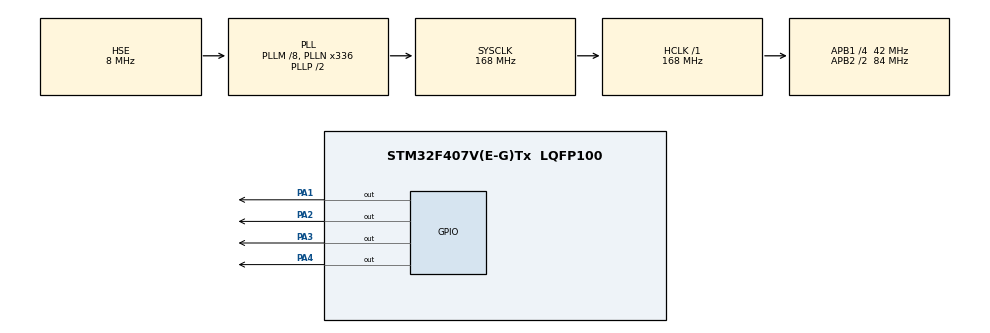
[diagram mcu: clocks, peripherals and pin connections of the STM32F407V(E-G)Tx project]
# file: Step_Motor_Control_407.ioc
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Mcu.Family=STM32F4
Mcu.Name=STM32F407V(E-G)Tx
Mcu.Package=LQFP100
NVIC.PriorityGroup=NVIC_PRIORITYGROUP_0
PA1.Signal=GPIO_Output
PA13.Mode=Serial_Wire
PA13.Signal=SYS_JTMS-SWDIO
PA14.Mode=Serial_Wire
PA14.Signal=SYS_JTCK-SWCLK
PA2.Signal=GPIO_Output
PA3.Signal=GPIO_Output
PA4.Signal=GPIO_Output
PH0-OSC_IN.Mode=HSE-External-Oscillator
PH0-OSC_IN.Signal=RCC_OSC_IN
PH1-OSC_OUT.Mode=HSE-External-Oscillator
PH1-OSC_OUT.Signal=RCC_OSC_OUT
ProjectManager.HeapSize=0x200
ProjectManager.StackSize=0x400
ProjectManager.TargetToolchain=STM32CubeIDE
RCC.48MHZClocksFreq_Value=48000000
RCC.AHBFreq_Value=168000000
RCC.APB1CLKDivider=RCC_HCLK_DIV4
RCC.APB1Freq_Value=42000000
RCC.APB1TimFreq_Value=84000000
RCC.APB2CLKDivider=RCC_HCLK_DIV2
RCC.APB2Freq_Value=84000000
RCC.APB2TimFreq_Value=168000000
RCC.CortexFreq_Value=168000000
RCC.HCLKFreq_Value=168000000
RCC.HSE_VALUE=8000000
RCC.HSI_VALUE=16000000
RCC.LSE_VALUE=32768
RCC.PLLM=8
RCC.PLLN=336
RCC.PLLQ=7
RCC.PLLSourceVirtual=RCC_PLLSOURCE_HSE
RCC.SYSCLKFreq_VALUE=168000000
RCC.SYSCLKSource=RCC_SYSCLKSOURCE_PLLCLK
RCC.VCOOutputFreq_Value=336000000
VP_TIM1_VS_ClockSourceINT.Mode=Internal
board=STM32F407G-DISC1

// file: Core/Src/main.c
/* USER CODE BEGIN Header */
/**
  ******************************************************************************
  * @file           : main.c
  * @brief          : Main program body
  ******************************************************************************
  * @attention
  *
  * Copyright (c) 2022 STMicroelectronics.
  * All rights reserved.
  *
  * This software is licensed under terms that can be found in the LICENSE file
  * in the root directory of this software component.
  * If no LICENSE file comes with this software, it is provided AS-IS.
  *
  ******************************************************************************
  */
/* USER CODE END Header */
#include "main.h"
#include <stdio.h>
#include <stdlib.h>
#include<stdint.h>

/* USER CODE BEGIN PTD */

uint8_t step_number;
/* USER CODE END PTD */

TIM_HandleTypeDef htim1;

void SystemClock_Config(void);
static void MX_GPIO_Init(void);
static void MX_TIM1_Init(void);

/* USER CODE BEGIN 0 */
uint32_t MAP(uint32_t au32_IN, uint32_t au32_INmin, uint32_t au32_INmax, uint32_t au32_OUTmin, uint32_t au32_OUTmax)
{
    return ((((au32_IN - au32_INmin)*(au32_OUTmax - au32_OUTmin))/(au32_INmax - au32_INmin)) + au32_OUTmin);
}

void onestep(uint8_t dir ,uint16_t delay)
{
	if(dir==0)
	{

		switch(step_number){

		case 0:
		  HAL_GPIO_WritePin(GPIOA, GPIO_PIN_1, GPIO_PIN_SET);   // IN1
		  HAL_GPIO_WritePin(GPIOA, GPIO_PIN_2, GPIO_PIN_RESET);   // IN2
		  HAL_GPIO_WritePin(GPIOA, GPIO_PIN_3, GPIO_PIN_RESET);   // IN3
		  HAL_GPIO_WritePin(GPIOA, GPIO_PIN_4, GPIO_PIN_RESET);   // IN4
		  HAL_Delay(delay);
		break;
		case 1:
		  HAL_GPIO_WritePin(GPIOA, GPIO_PIN_1, GPIO_PIN_RESET);   // IN1
		  HAL_GPIO_WritePin(GPIOA, GPIO_PIN_2, GPIO_PIN_SET);   // IN2
		  HAL_GPIO_WritePin(GPIOA, GPIO_PIN_3, GPIO_PIN_RESET);   // IN3
		  HAL_GPIO_WritePin(GPIOA, GPIO_PIN_4, GPIO_PIN_RESET);   // IN4
		  HAL_Delay(delay);
		 break;

		case 2:
		  HAL_GPIO_WritePin(GPIOA, GPIO_PIN_1, GPIO_PIN_RESET);   // IN1
		  HAL_GPIO_WritePin(GPIOA, GPIO_PIN_2, GPIO_PIN_RESET);   // IN2
		  HAL_GPIO_WritePin(GPIOA, GPIO_PIN_3, GPIO_PIN_SET);   // IN3
		  HAL_GPIO_WritePin(GPIOA, GPIO_PIN_4, GPIO_PIN_RESET);   // IN4
		  HAL_Delay(delay);
		  break;

		case 3:
		  HAL_GPIO_WritePin(GPIOA, GPIO_PIN_1, GPIO_PIN_RESET);   // IN1
		  HAL_GPIO_WritePin(GPIOA, GPIO_PIN_2, GPIO_PIN_RESET);   // IN2
		  HAL_GPIO_WritePin(GPIOA, GPIO_PIN_3, GPIO_PIN_RESET);   // IN3
		  HAL_GPIO_WritePin(GPIOA, GPIO_PIN_4, GPIO_PIN_SET);   // IN4
		  HAL_Delay(delay);
		break;
		}
	}

	if(dir==1)
	{
		switch(step_number){

				case 0:
				  HAL_GPIO_WritePin(GPIOA, GPIO_PIN_1, GPIO_PIN_RESET);   // IN1
				  HAL_GPIO_WritePin(GPIOA, GPIO_PIN_2, GPIO_PIN_RESET);   // IN2
				  HAL_GPIO_WritePin(GPIOA, GPIO_PIN_3, GPIO_PIN_RESET);   // IN3
				  HAL_GPIO_WritePin(GPIOA, GPIO_PIN_4, GPIO_PIN_SET);   // IN4
				  HAL_Delay(delay);
				break;
				case 1:
				  HAL_GPIO_WritePin(GPIOA, GPIO_PIN_1, GPIO_PIN_RESET);   // IN1
				  HAL_GPIO_WritePin(GPIOA, GPIO_PIN_2, GPIO_PIN_RESET);   // IN2
				  HAL_GPIO_WritePin(GPIOA, GPIO_PIN_3, GPIO_PIN_SET);   // IN3
				  HAL_GPIO_WritePin(GPIOA, GPIO_PIN_4, GPIO_PIN_RESET);   // IN4
				  HAL_Delay(delay);
				 break;

				case 2:
				  HAL_GPIO_WritePin(GPIOA, GPIO_PIN_1, GPIO_PIN_RESET);   // IN1
				  HAL_GPIO_WritePin(GPIOA, GPIO_PIN_2, GPIO_PIN_SET);   // IN2
				  HAL_GPIO_WritePin(GPIOA, GPIO_PIN_3, GPIO_PIN_RESET);   // IN3
				  HAL_GPIO_WritePin(GPIOA, GPIO_PIN_4, GPIO_PIN_RESET);   // IN4
				  HAL_Delay(delay);
				  break;

				case 3:
				  HAL_GPIO_WritePin(GPIOA, GPIO_PIN_1, GPIO_PIN_SET);   // IN1
				  HAL_GPIO_WritePin(GPIOA, GPIO_PIN_2, GPIO_PIN_RESET);   // IN2
				  HAL_GPIO_WritePin(GPIOA, GPIO_PIN_3, GPIO_PIN_RESET);   // IN3
				  HAL_GPIO_WritePin(GPIOA, GPIO_PIN_4, GPIO_PIN_RESET);   // IN4
				  HAL_Delay(delay);
				break;
				}
	}

	step_number ++;

	if(step_number >3)
	{
		step_number = 0;
	}
}

void stepdrive(uint32_t step,uint8_t dir,uint16_t delay)
{
int angle=MAP(step, 0, 360, 0, 2048);
	for(uint32_t k=0;k<angle;k++)
	{
		onestep(dir, delay);
	}
}
/* USER CODE END 0 */

int main(void)
{

  /* MCU Configuration--------------------------------------------------------*/

  /* Reset of all peripherals, Initializes the Flash interface and the Systick. */
  HAL_Init();

  /* Configure the system clock */
  SystemClock_Config();

  /* Initialize all configured peripherals */
  MX_GPIO_Init();
  MX_TIM1_Init();

  /* Infinite loop */
  while (1)
  {

    /* USER CODE BEGIN 3 */

//0-1 yön (2.değişken)
// 90 olan ise açı
  stepdrive(90, 0, 8);

  }
  /* USER CODE END 3 */
}

void SystemClock_Config(void)
{
  RCC_OscInitTypeDef RCC_OscInitStruct = {0};
  RCC_ClkInitTypeDef RCC_ClkInitStruct = {0};

  /** Configure the main internal regulator output voltage
  */
  __HAL_RCC_PWR_CLK_ENABLE();
  __HAL_PWR_VOLTAGESCALING_CONFIG(PWR_REGULATOR_VOLTAGE_SCALE1);

  /** Initializes the RCC Oscillators according to the specified parameters
  * in the RCC_OscInitTypeDef structure.
  */
  RCC_OscInitStruct.OscillatorType = RCC_OSCILLATORTYPE_HSE;
  RCC_OscInitStruct.HSEState = RCC_HSE_ON;
  RCC_OscInitStruct.PLL.PLLState = RCC_PLL_ON;
  RCC_OscInitStruct.PLL.PLLSource = RCC_PLLSOURCE_HSE;
  RCC_OscInitStruct.PLL.PLLM = 8;
  RCC_OscInitStruct.PLL.PLLN = 336;
  RCC_OscInitStruct.PLL.PLLP = RCC_PLLP_DIV2;
  RCC_OscInitStruct.PLL.PLLQ = 7;
  if (HAL_RCC_OscConfig(&RCC_OscInitStruct) != HAL_OK)
  {
    Error_Handler();
  }

  /** Initializes the CPU, AHB and APB buses clocks
  */
  RCC_ClkInitStruct.ClockType = RCC_CLOCKTYPE_HCLK|RCC_CLOCKTYPE_SYSCLK
                              |RCC_CLOCKTYPE_PCLK1|RCC_CLOCKTYPE_PCLK2;
  RCC_ClkInitStruct.SYSCLKSource = RCC_SYSCLKSOURCE_PLLCLK;
  RCC_ClkInitStruct.AHBCLKDivider = RCC_SYSCLK_DIV1;
  RCC_ClkInitStruct.APB1CLKDivider = RCC_HCLK_DIV4;
  RCC_ClkInitStruct.APB2CLKDivider = RCC_HCLK_DIV2;

  if (HAL_RCC_ClockConfig(&RCC_ClkInitStruct, FLASH_LATENCY_5) != HAL_OK)
  {
    Error_Handler();
  }
}

static void MX_TIM1_Init(void)
{

  TIM_ClockConfigTypeDef sClockSourceConfig = {0};
  TIM_MasterConfigTypeDef sMasterConfig = {0};

  htim1.Instance = TIM1;
  htim1.Init.Prescaler = 0;
  htim1.Init.CounterMode = TIM_COUNTERMODE_UP;
  htim1.Init.Period = 65535;
  htim1.Init.ClockDivision = TIM_CLOCKDIVISION_DIV1;
  htim1.Init.RepetitionCounter = 0;
  htim1.Init.AutoReloadPreload = TIM_AUTORELOAD_PRELOAD_DISABLE;
  if (HAL_TIM_Base_Init(&htim1) != HAL_OK)
  {
    Error_Handler();
  }
  sClockSourceConfig.ClockSource = TIM_CLOCKSOURCE_INTERNAL;
  if (HAL_TIM_ConfigClockSource(&htim1, &sClockSourceConfig) != HAL_OK)
  {
    Error_Handler();
  }
  sMasterConfig.MasterOutputTrigger = TIM_TRGO_RESET;
  sMasterConfig.MasterSlaveMode = TIM_MASTERSLAVEMODE_DISABLE;
  if (HAL_TIMEx_MasterConfigSynchronization(&htim1, &sMasterConfig) != HAL_OK)
  {
    Error_Handler();
  }

}

static void MX_GPIO_Init(void)
{
  GPIO_InitTypeDef GPIO_InitStruct = {0};

  /* GPIO Ports Clock Enable */
  __HAL_RCC_GPIOH_CLK_ENABLE();
  __HAL_RCC_GPIOA_CLK_ENABLE();

  /*Configure GPIO pin Output Level */
  HAL_GPIO_WritePin(GPIOA, GPIO_PIN_1|GPIO_PIN_2|GPIO_PIN_3|GPIO_PIN_4, GPIO_PIN_RESET);

  /*Configure GPIO pins : PA1 PA2 PA3 PA4 */
  GPIO_InitStruct.Pin = GPIO_PIN_1|GPIO_PIN_2|GPIO_PIN_3|GPIO_PIN_4;
  GPIO_InitStruct.Mode = GPIO_MODE_OUTPUT_PP;
  GPIO_InitStruct.Pull = GPIO_NOPULL;
  GPIO_InitStruct.Speed = GPIO_SPEED_FREQ_LOW;
  HAL_GPIO_Init(GPIOA, &GPIO_InitStruct);

}

void Error_Handler(void)
{
  __disable_irq();
  while (1)
  {
  }
}
